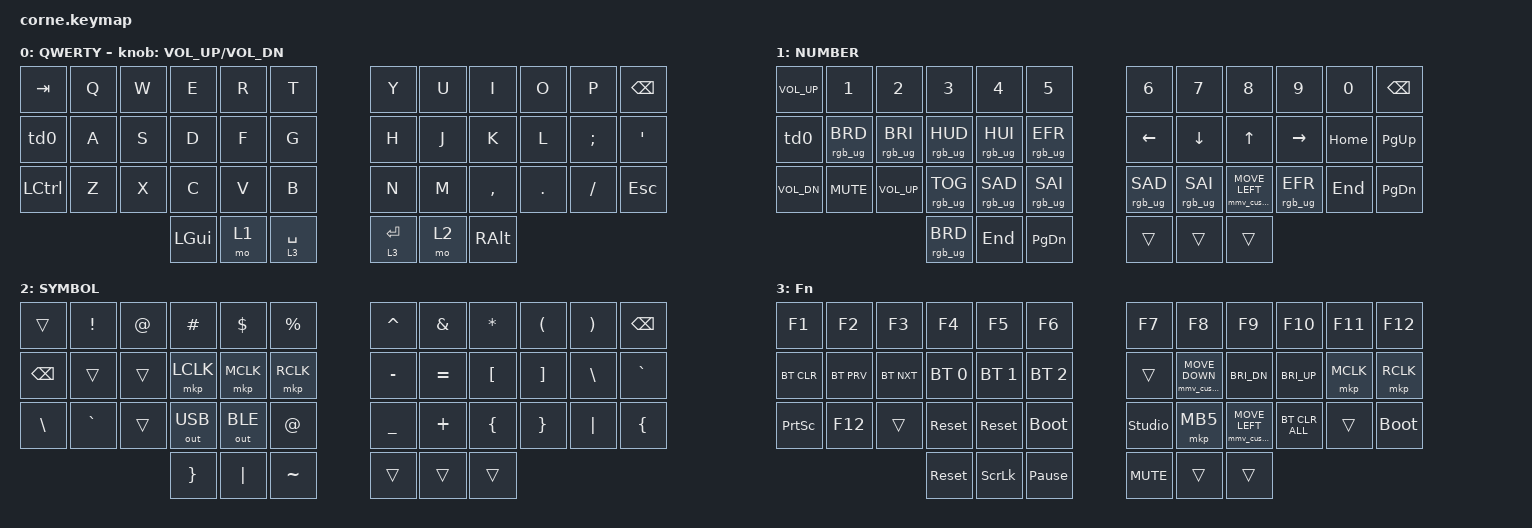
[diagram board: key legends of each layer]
#define ZMK_POINTING_DEFAULT_MOVE_VAL 1200
#define ZMK_POINTING_DEFAULT_SCRL_VAL 20

#include <dt-bindings/zmk/mouse.h>
#include <zephyr/dt-bindings/input/input-event-codes.h>
#include <behaviors.dtsi>
#include <dt-bindings/zmk/bt.h>
#include <dt-bindings/zmk/keys.h>
#include <dt-bindings/zmk/outputs.h>
#include <dt-bindings/zmk/pointing.h>
#include <dt-bindings/zmk/rgb.h>
#include <dt-bindings/zmk/ext_power.h>
#define U_MS_U &mmv_custom MOVE_UP
#define U_MS_D &mmv_custom MOVE_DOWN
#define U_MS_L &mmv_custom MOVE_LEFT
#define U_MS_R &mmv_custom MOVE_RIGHT

/ {
    behaviors {
        td0: td0 {
            compatible = "zmk,behavior-tap-dance";
            #binding-cells = <0>;
            bindings = <&kp LSHIFT>, <&kp CAPSLOCK>;
        };

        mmv_custom: mmv_custom {
            compatible = "zmk,behavior-input-two-axis";
            #binding-cells = <1>;
            x-input-code = <INPUT_REL_X>;
            y-input-code = <INPUT_REL_Y>;
            time-to-max-speed-ms = <160>;
            acceleration-exponent = <1>;
            delay-ms = <0>;
        };

        msc_custom: msc_custom {
            compatible = "zmk,behavior-input-two-axis";
            #binding-cells = <1>;
            x-input-code = <INPUT_REL_HWHEEL>;
            y-input-code = <INPUT_REL_WHEEL>;
            time-to-max-speed-ms = <20>;
            acceleration-exponent = <1>;
            delay-ms = <0>;
        };
    };

    keymap {
        compatible = "zmk,keymap";

        default_layer {
            display-name = "QWERTY";
            bindings = <
&kp TAB    &kp Q  &kp W  &kp E         &kp R  &kp T          &kp Y        &kp U  &kp I      &kp O    &kp P      &kp BSPC
&td0       &kp A  &kp S  &kp D         &kp F  &kp G          &kp H        &kp J  &kp K      &kp L    &kp SEMI   &kp SQT
&kp LCTRL  &kp Z  &kp X  &kp C         &kp V  &kp B          &kp N        &kp M  &kp COMMA  &kp DOT  &kp SLASH  &kp ESCAPE
                         &kp LEFT_GUI  &mo 1  &lt 3 SPACE    &lt 3 ENTER  &mo 2  &kp RALT
            >;

            sensor-bindings = <&inc_dec_kp C_VOL_UP C_VOL_DN>;
        };

        lower_layer {
            display-name = "NUMBER";
            bindings = <
&kp C_VOL_UP  &kp N1           &kp N2           &kp N3           &kp N4           &kp N5             &kp N6           &kp N7           &kp N8                 &kp N9           &kp N0    &kp BSPC
&td0          &rgb_ug RGB_BRD  &rgb_ug RGB_BRI  &rgb_ug RGB_HUD  &rgb_ug RGB_HUI  &rgb_ug RGB_EFR    &kp LEFT         &kp DOWN         &kp UP                 &kp RIGHT        &kp HOME  &kp PG_UP
&kp C_VOL_DN  &kp K_MUTE       &kp C_VOL_UP     &rgb_ug RGB_TOG  &rgb_ug RGB_SAD  &rgb_ug RGB_SAI    &rgb_ug RGB_SAD  &rgb_ug RGB_SAI  &mmv_custom MOVE_LEFT  &rgb_ug RGB_EFR  &kp END   &kp PG_DN
                                                &rgb_ug RGB_BRD  &kp END          &kp PG_DN          &trans           &trans           &trans
            >;

            // CORRECTION ICI : Suppression du &none problématique
        };

        raise_layer {
            display-name = "SYMBOL";
            bindings = <
&trans    &kp EXCL   &kp AT  &kp HASH      &kp DLLR      &kp PRCNT    &kp CARET  &kp AMPS   &kp STAR  &kp LPAR  &kp RPAR  &kp BSPC
&kp BSPC  &trans     &trans  &mkp LCLK     &mkp MCLK     &mkp RCLK    &kp MINUS  &kp EQUAL  &kp LBKT  &kp RBKT  &kp BSLH  &kp GRAVE
&kp BSLH  &kp GRAVE  &trans  &out OUT_USB  &out OUT_BLE  &kp AT       &kp UNDER  &kp PLUS   &kp LBRC  &kp RBRC  &kp PIPE  &kp LBRC
                             &kp RBRC      &kp PIPE      &kp TILDE    &trans     &trans     &trans
            >;

            // CORRECTION ICI
        };

        layer_3 {
            display-name = "Fn";
            bindings = <
&kp F1      &kp F2      &kp F3      &kp F4        &kp F5        &kp F6             &kp F7          &kp F8                 &kp F9                 &kp F10         &kp F11    &kp F12
&bt BT_CLR  &bt BT_PRV  &bt BT_NXT  &bt BT_SEL 0  &bt BT_SEL 1  &bt BT_SEL 2       &trans          &mmv_custom MOVE_DOWN  &kp C_BRI_DN           &kp C_BRI_UP    &mkp MCLK  &mkp RCLK
&kp PSCRN   &kp F12     &trans      &sys_reset    &sys_reset    &bootloader        &studio_unlock  &mkp MB5               &mmv_custom MOVE_LEFT  &bt BT_CLR_ALL  &trans     &bootloader
                                    &sys_reset    &kp SLCK      &kp PAUSE_BREAK    &kp C_MUTE      &trans                 &trans
            >;

            // CORRECTION ICI
        };
    };
};

&led_strip { chain-length = <27>; };
